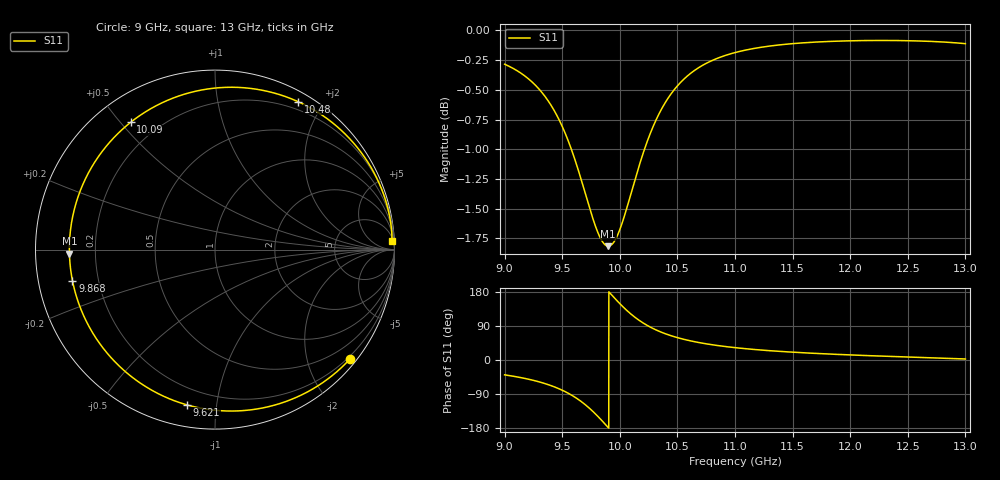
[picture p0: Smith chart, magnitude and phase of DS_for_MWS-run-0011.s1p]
! TOUCHSTONE file generated by CST DESIGN STUDIO
! Date and time: Tue Feb  4 18:24:32 2025
! Project name: C:\Work\MatlabApps\UnitCellOptimizationMatlab\CST\unitcell.cst
! Tree item: Tasks\Sweep1\SPara1\S-Parameters
! Header version: 2024
! Port assignment regex: !\s*Touchstone port\s*([0-9]+)\s*=\s*(CST MWS port|CST DES external port|CST DES block port)\s*(.+)\s* \(\"(.*)\"\)(\s*mode\s*([0-9]+))?.*
! Touchstone port assignment:
! Touchstone port 1 = CST DES external port 1 ("")
# GHz S MA R 50
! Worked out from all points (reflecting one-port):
!   4001 points, 9 GHz to 13 GHz, reference 50 ohm
!   lowest |S11| = -1.8 dB at 9.9 GHz (marker M1), VSWR 9.61, Z = 5.21 - j0.674 ohm
!   phase of S11 starts at -39 deg and turns -318 deg over the sweep
!   S11 on the Smith chart (normalised r, x): 9 GHz: 0.15, -2.80; 9.621 GHz: 0.11, -0.83; 9.868 GHz: 0.10, -0.11; 10.09 GHz: 0.10, +0.53; 10.48 GHz: 0.11, +1.70; 13 GHz: 11, +40
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9  0.9677 -39.2
9.148  0.9589 -46.9
9.281  0.9468 -56.1
9.396  0.9312 -66.8
9.5  0.9112 -79.7
9.565  0.8952 -89.8
9.621  0.8792 -100.2
9.685  0.8589 -114.2
9.744  0.84 -129.4
9.811  0.8219 -149.2
9.868  0.8129 -167.7
9.9  0.8114 -178.4
9.948  0.8146 165.5
10  0.8245 148.7
10.045  0.837 135.3
10.088  0.8508 123.5
10.161  0.8749 106.1
10.243  0.8993 90.4
10.358  0.9258 73.7
10.481  0.9453 60.7
10.5  0.9476 59.0
10.601  0.9581 51.3
10.716  0.9665 44.4
11  0.9787 32.6
11.5  0.9872 20.7
12  0.9899 13.4
12.5  0.99 7.9
13  0.9872 2.7
